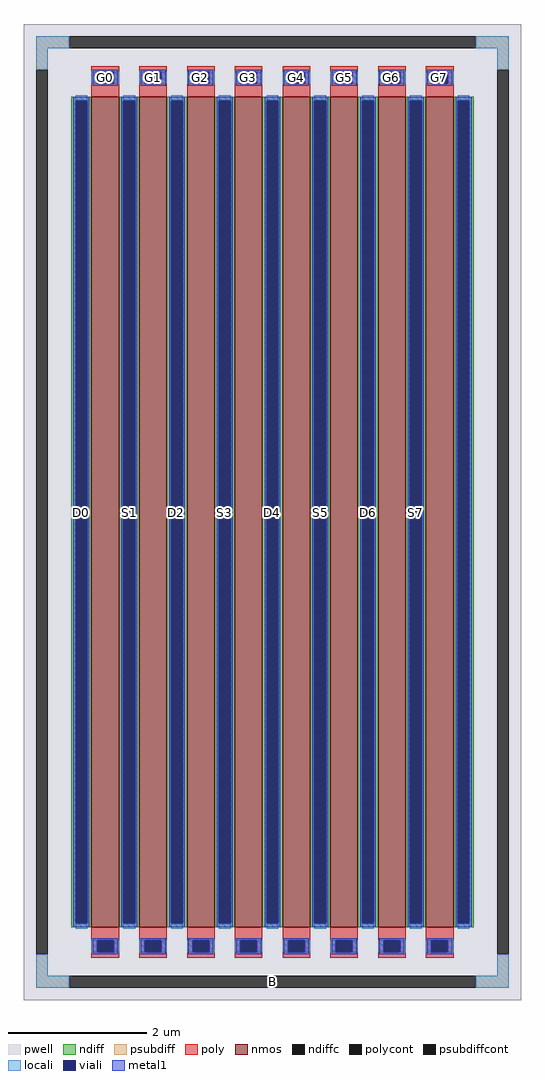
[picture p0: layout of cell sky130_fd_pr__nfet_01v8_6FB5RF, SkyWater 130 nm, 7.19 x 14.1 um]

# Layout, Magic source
magic
tech sky130A
magscale 1 2
<< pwell >>
rect -719 -1410 719 1410
<< nmos >>
rect -523 -1200 -443 1200
rect -385 -1200 -305 1200
rect -247 -1200 -167 1200
rect -109 -1200 -29 1200
rect 29 -1200 109 1200
rect 167 -1200 247 1200
rect 305 -1200 385 1200
rect 443 -1200 523 1200
<< ndiff >>
rect -581 1188 -523 1200
rect -581 -1188 -569 1188
rect -535 -1188 -523 1188
rect -581 -1200 -523 -1188
rect -443 1188 -385 1200
rect -443 -1188 -431 1188
rect -397 -1188 -385 1188
rect -443 -1200 -385 -1188
rect -305 1188 -247 1200
rect -305 -1188 -293 1188
rect -259 -1188 -247 1188
rect -305 -1200 -247 -1188
rect -167 1188 -109 1200
rect -167 -1188 -155 1188
rect -121 -1188 -109 1188
rect -167 -1200 -109 -1188
rect -29 1188 29 1200
rect -29 -1188 -17 1188
rect 17 -1188 29 1188
rect -29 -1200 29 -1188
rect 109 1188 167 1200
rect 109 -1188 121 1188
rect 155 -1188 167 1188
rect 109 -1200 167 -1188
rect 247 1188 305 1200
rect 247 -1188 259 1188
rect 293 -1188 305 1188
rect 247 -1200 305 -1188
rect 385 1188 443 1200
rect 385 -1188 397 1188
rect 431 -1188 443 1188
rect 385 -1200 443 -1188
rect 523 1188 581 1200
rect 523 -1188 535 1188
rect 569 -1188 581 1188
rect 523 -1200 581 -1188
<< ndiffc >>
rect -569 -1188 -535 1188
rect -431 -1188 -397 1188
rect -293 -1188 -259 1188
rect -155 -1188 -121 1188
rect -17 -1188 17 1188
rect 121 -1188 155 1188
rect 259 -1188 293 1188
rect 397 -1188 431 1188
rect 535 -1188 569 1188
<< psubdiff >>
rect -683 1340 -587 1374
rect 587 1340 683 1374
rect -683 1278 -649 1340
rect 649 1278 683 1340
rect -683 -1340 -649 -1278
rect 649 -1340 683 -1278
rect -683 -1374 -587 -1340
rect 587 -1374 683 -1340
<< psubdiffcont >>
rect -587 1340 587 1374
rect -683 -1278 -649 1278
rect 649 -1278 683 1278
rect -587 -1374 587 -1340
<< poly >>
rect -523 1272 -443 1288
rect -523 1238 -507 1272
rect -459 1238 -443 1272
rect -523 1200 -443 1238
rect -385 1272 -305 1288
rect -385 1238 -369 1272
rect -321 1238 -305 1272
rect -385 1200 -305 1238
rect -247 1272 -167 1288
rect -247 1238 -231 1272
rect -183 1238 -167 1272
rect -247 1200 -167 1238
rect -109 1272 -29 1288
rect -109 1238 -93 1272
rect -45 1238 -29 1272
rect -109 1200 -29 1238
rect 29 1272 109 1288
rect 29 1238 45 1272
rect 93 1238 109 1272
rect 29 1200 109 1238
rect 167 1272 247 1288
rect 167 1238 183 1272
rect 231 1238 247 1272
rect 167 1200 247 1238
rect 305 1272 385 1288
rect 305 1238 321 1272
rect 369 1238 385 1272
rect 305 1200 385 1238
rect 443 1272 523 1288
rect 443 1238 459 1272
rect 507 1238 523 1272
rect 443 1200 523 1238
rect -523 -1238 -443 -1200
rect -523 -1272 -507 -1238
rect -459 -1272 -443 -1238
rect -523 -1288 -443 -1272
rect -385 -1238 -305 -1200
rect -385 -1272 -369 -1238
rect -321 -1272 -305 -1238
rect -385 -1288 -305 -1272
rect -247 -1238 -167 -1200
rect -247 -1272 -231 -1238
rect -183 -1272 -167 -1238
rect -247 -1288 -167 -1272
rect -109 -1238 -29 -1200
rect -109 -1272 -93 -1238
rect -45 -1272 -29 -1238
rect -109 -1288 -29 -1272
rect 29 -1238 109 -1200
rect 29 -1272 45 -1238
rect 93 -1272 109 -1238
rect 29 -1288 109 -1272
rect 167 -1238 247 -1200
rect 167 -1272 183 -1238
rect 231 -1272 247 -1238
rect 167 -1288 247 -1272
rect 305 -1238 385 -1200
rect 305 -1272 321 -1238
rect 369 -1272 385 -1238
rect 305 -1288 385 -1272
rect 443 -1238 523 -1200
rect 443 -1272 459 -1238
rect 507 -1272 523 -1238
rect 443 -1288 523 -1272
<< polycont >>
rect -507 1238 -459 1272
rect -369 1238 -321 1272
rect -231 1238 -183 1272
rect -93 1238 -45 1272
rect 45 1238 93 1272
rect 183 1238 231 1272
rect 321 1238 369 1272
rect 459 1238 507 1272
rect -507 -1272 -459 -1238
rect -369 -1272 -321 -1238
rect -231 -1272 -183 -1238
rect -93 -1272 -45 -1238
rect 45 -1272 93 -1238
rect 183 -1272 231 -1238
rect 321 -1272 369 -1238
rect 459 -1272 507 -1238
<< locali >>
rect -683 1340 -587 1374
rect 587 1340 683 1374
rect -683 1278 -649 1340
rect 649 1278 683 1340
rect -523 1238 -507 1272
rect -459 1238 -443 1272
rect -385 1238 -369 1272
rect -321 1238 -305 1272
rect -247 1238 -231 1272
rect -183 1238 -167 1272
rect -109 1238 -93 1272
rect -45 1238 -29 1272
rect 29 1238 45 1272
rect 93 1238 109 1272
rect 167 1238 183 1272
rect 231 1238 247 1272
rect 305 1238 321 1272
rect 369 1238 385 1272
rect 443 1238 459 1272
rect 507 1238 523 1272
rect -569 1188 -535 1204
rect -569 -1204 -535 -1188
rect -431 1188 -397 1204
rect -431 -1204 -397 -1188
rect -293 1188 -259 1204
rect -293 -1204 -259 -1188
rect -155 1188 -121 1204
rect -155 -1204 -121 -1188
rect -17 1188 17 1204
rect -17 -1204 17 -1188
rect 121 1188 155 1204
rect 121 -1204 155 -1188
rect 259 1188 293 1204
rect 259 -1204 293 -1188
rect 397 1188 431 1204
rect 397 -1204 431 -1188
rect 535 1188 569 1204
rect 535 -1204 569 -1188
rect -523 -1272 -507 -1238
rect -459 -1272 -443 -1238
rect -385 -1272 -369 -1238
rect -321 -1272 -305 -1238
rect -247 -1272 -231 -1238
rect -183 -1272 -167 -1238
rect -109 -1272 -93 -1238
rect -45 -1272 -29 -1238
rect 29 -1272 45 -1238
rect 93 -1272 109 -1238
rect 167 -1272 183 -1238
rect 231 -1272 247 -1238
rect 305 -1272 321 -1238
rect 369 -1272 385 -1238
rect 443 -1272 459 -1238
rect 507 -1272 523 -1238
rect -683 -1340 -649 -1278
rect 649 -1340 683 -1278
rect -683 -1374 -587 -1340
rect 587 -1374 683 -1340
<< viali >>
rect -507 1238 -459 1272
rect -369 1238 -321 1272
rect -231 1238 -183 1272
rect -93 1238 -45 1272
rect 45 1238 93 1272
rect 183 1238 231 1272
rect 321 1238 369 1272
rect 459 1238 507 1272
rect -569 -1188 -535 1188
rect -431 -1188 -397 1188
rect -293 -1188 -259 1188
rect -155 -1188 -121 1188
rect -17 -1188 17 1188
rect 121 -1188 155 1188
rect 259 -1188 293 1188
rect 397 -1188 431 1188
rect 535 -1188 569 1188
rect -507 -1272 -459 -1238
rect -369 -1272 -321 -1238
rect -231 -1272 -183 -1238
rect -93 -1272 -45 -1238
rect 45 -1272 93 -1238
rect 183 -1272 231 -1238
rect 321 -1272 369 -1238
rect 459 -1272 507 -1238
<< metal1 >>
rect -519 1272 -447 1278
rect -519 1238 -507 1272
rect -459 1238 -447 1272
rect -519 1232 -447 1238
rect -381 1272 -309 1278
rect -381 1238 -369 1272
rect -321 1238 -309 1272
rect -381 1232 -309 1238
rect -243 1272 -171 1278
rect -243 1238 -231 1272
rect -183 1238 -171 1272
rect -243 1232 -171 1238
rect -105 1272 -33 1278
rect -105 1238 -93 1272
rect -45 1238 -33 1272
rect -105 1232 -33 1238
rect 33 1272 105 1278
rect 33 1238 45 1272
rect 93 1238 105 1272
rect 33 1232 105 1238
rect 171 1272 243 1278
rect 171 1238 183 1272
rect 231 1238 243 1272
rect 171 1232 243 1238
rect 309 1272 381 1278
rect 309 1238 321 1272
rect 369 1238 381 1272
rect 309 1232 381 1238
rect 447 1272 519 1278
rect 447 1238 459 1272
rect 507 1238 519 1272
rect 447 1232 519 1238
rect -575 1188 -529 1200
rect -575 -1188 -569 1188
rect -535 -1188 -529 1188
rect -575 -1200 -529 -1188
rect -437 1188 -391 1200
rect -437 -1188 -431 1188
rect -397 -1188 -391 1188
rect -437 -1200 -391 -1188
rect -299 1188 -253 1200
rect -299 -1188 -293 1188
rect -259 -1188 -253 1188
rect -299 -1200 -253 -1188
rect -161 1188 -115 1200
rect -161 -1188 -155 1188
rect -121 -1188 -115 1188
rect -161 -1200 -115 -1188
rect -23 1188 23 1200
rect -23 -1188 -17 1188
rect 17 -1188 23 1188
rect -23 -1200 23 -1188
rect 115 1188 161 1200
rect 115 -1188 121 1188
rect 155 -1188 161 1188
rect 115 -1200 161 -1188
rect 253 1188 299 1200
rect 253 -1188 259 1188
rect 293 -1188 299 1188
rect 253 -1200 299 -1188
rect 391 1188 437 1200
rect 391 -1188 397 1188
rect 431 -1188 437 1188
rect 391 -1200 437 -1188
rect 529 1188 575 1200
rect 529 -1188 535 1188
rect 569 -1188 575 1188
rect 529 -1200 575 -1188
rect -519 -1238 -447 -1232
rect -519 -1272 -507 -1238
rect -459 -1272 -447 -1238
rect -519 -1278 -447 -1272
rect -381 -1238 -309 -1232
rect -381 -1272 -369 -1238
rect -321 -1272 -309 -1238
rect -381 -1278 -309 -1272
rect -243 -1238 -171 -1232
rect -243 -1272 -231 -1238
rect -183 -1272 -171 -1238
rect -243 -1278 -171 -1272
rect -105 -1238 -33 -1232
rect -105 -1272 -93 -1238
rect -45 -1272 -33 -1238
rect -105 -1278 -33 -1272
rect 33 -1238 105 -1232
rect 33 -1272 45 -1238
rect 93 -1272 105 -1238
rect 33 -1278 105 -1272
rect 171 -1238 243 -1232
rect 171 -1272 183 -1238
rect 231 -1272 243 -1238
rect 171 -1278 243 -1272
rect 309 -1238 381 -1232
rect 309 -1272 321 -1238
rect 369 -1272 381 -1238
rect 309 -1278 381 -1272
rect 447 -1238 519 -1232
rect 447 -1272 459 -1238
rect 507 -1272 519 -1238
rect 447 -1278 519 -1272
<< labels >>
rlabel psubdiffcont 0 -1357 0 -1357 0 B
port 86 nsew
rlabel ndiffc -552 0 -552 0 0 D0
port 87 nsew
rlabel polycont -483 1255 -483 1255 0 G0
port 88 nsew
rlabel ndiffc -414 0 -414 0 0 S1
port 89 nsew
rlabel polycont -345 1255 -345 1255 0 G1
port 90 nsew
rlabel ndiffc -276 0 -276 0 0 D2
port 91 nsew
rlabel polycont -207 1255 -207 1255 0 G2
port 92 nsew
rlabel ndiffc -138 0 -138 0 0 S3
port 93 nsew
rlabel polycont -69 1255 -69 1255 0 G3
port 94 nsew
rlabel ndiffc 0 0 0 0 0 D4
port 95 nsew
rlabel polycont 69 1255 69 1255 0 G4
port 96 nsew
rlabel ndiffc 138 0 138 0 0 S5
port 97 nsew
rlabel polycont 207 1255 207 1255 0 G5
port 98 nsew
rlabel ndiffc 276 0 276 0 0 D6
port 99 nsew
rlabel polycont 345 1255 345 1255 0 G6
port 100 nsew
rlabel ndiffc 414 0 414 0 0 S7
port 101 nsew
rlabel polycont 483 1255 483 1255 0 G7
port 102 nsew
<< properties >>
string FIXED_BBOX -666 -1357 666 1357
string gencell sky130_fd_pr__nfet_01v8
string library sky130
string parameters w 12.0 l 0.4 m 1 nf 8 diffcov 100 polycov 100 guard 1 glc 1 grc 1 gtc 1 gbc 1 tbcov 100 rlcov 100 topc 1 botc 1 poverlap 0 doverlap 1 lmin 0.15 wmin 0.42 class mosfet compatible {sky130_fd_pr__nfet_01v8 sky130_fd_pr__nfet_01v8_lvt  sky130_fd_bs_flash__special_sonosfet_star  sky130_fd_pr__nfet_g5v0d10v5 sky130_fd_pr__nfet_05v0_nvt  sky130_fd_pr__nfet_03v3_nvt} full_metal 1 conn_gates 0 viasrc 100 viadrn 100 viagate 100 viagb 0 viagr 0 viagl 0 viagt 0 doports 1
<< end >>
